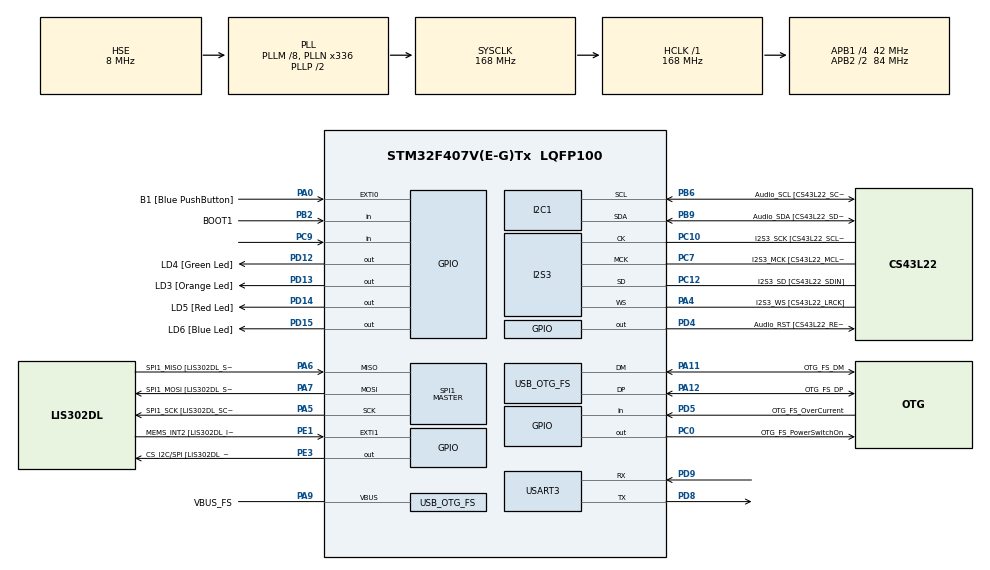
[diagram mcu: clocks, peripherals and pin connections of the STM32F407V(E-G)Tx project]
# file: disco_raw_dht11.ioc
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PA11.GPIO_Speed=GPIO_SPEED_FREQ_LOW
VP_TIM5_VS_ClockSourceINT.Mode=Internal
PD12.GPIO_Label=LD4 [Green Led]
PH0-OSC_IN.Signal=RCC_OSC_IN
PC10.GPIO_PuPd=GPIO_NOPULL
SPI1.VirtualType=VM_MASTER
PB10.GPIO_PuPd=GPIO_NOPULL
PA10.GPIO_PuPd=GPIO_NOPULL
PC12.Signal=I2S3_SD
PA14.GPIO_Label=SWCLK
PA6.GPIO_Label=SPI1_MISO [LIS302DL_SDO]
PB6.GPIO_Label=Audio_SCL [CS43L22_SCL]
PC15-OSC32_OUT.GPIO_Label=PC15-OSC32_OUT
PC3.GPIO_Speed=GPIO_SPEED_FREQ_LOW
RCC.SYSCLKSource=RCC_SYSCLKSOURCE_PLLCLK
PA6.GPIO_Mode=GPIO_MODE_AF_PP
PD14.GPIO_Speed=GPIO_SPEED_FREQ_LOW
PA4.Mode=Half_Duplex_Master
NVIC.TIM5_IRQn=true\:0\:0\:false\:false\:true\:true\:true
SPI1.Direction=SPI_DIRECTION_2LINES
I2S3.AudioFreq-Half_Duplex_Master=I2S_AUDIOFREQ_96K
PD4.Signal=GPIO_Output
RCC.APB2TimFreq_Value=168000000
PB6.Signal=I2C1_SCL
PC7.Signal=I2S3_MCK
PB6.Mode=I2C
PC3.Signal=I2S2_SD
PD8.Signal=USART3_TX
PE1.Signal=GPXTI1
USB_OTG_FS.phy_itface=HCD_PHY_EMBEDDED
PB2.Signal=GPIO_Input
I2S3.ErrorAudioFreq=-2.34 %
PA5.GPIO_PuPd=GPIO_NOPULL
I2S3.ErrorAudioFreq-Half_Duplex_Master=0.8 %
PD5.GPIO_Mode=GPIO_MODE_INPUT
PD14.GPIO_PuPd=GPIO_NOPULL
PB2.GPIO_PuPd=GPIO_NOPULL
SPI1.CalculateBaudRate-Full_Duplex_Master=42.0 MBits/s
Mcu.Package=LQFP100
PB9.Signal=I2C1_SDA
PD12.Signal=GPIO_Output
PB9.GPIO_PuPd=GPIO_NOPULL
PA10.Signal=USB_OTG_FS_ID
RCC.APB2CLKDivider=RCC_HCLK_DIV2
RCC.APB1TimFreq_Value=84000000
PC12.GPIO_PuPd=GPIO_NOPULL
PA6.GPIO_Speed=GPIO_SPEED_FREQ_LOW
PA12.GPIO_PuPd=GPIO_NOPULL
PA4.GPIO_Label=I2S3_WS [CS43L22_LRCK]
PD15.Signal=GPIO_Output
PC0.PinState=GPIO_PIN_SET
PA5.Mode=Full_Duplex_Master
I2S3.FullDuplexMode=I2S_FULLDUPLEXMODE_DISABLE
PA9.GPIO_Label=VBUS_FS
PB6.GPIO_PuPd=GPIO_NOPULL
PA11.GPIO_Label=OTG_FS_DM
PE1.GPIO_PuPd=GPIO_NOPULL
PC0.Signal=GPIO_Output
RCC.APB1CLKDivider=RCC_HCLK_DIV4
PC14-OSC32_IN.Signal=RCC_OSC32_IN
PA0-WKUP.GPIO_ModeDefaultEXTI=GPIO_MODE_EVT_RISING
PA0-WKUP.GPIO_Label=B1 [Blue PushButton]
PA0-WKUP.Signal=GPXTI0
USB_HOST0.BSP.STBoard=false
PC10.GPIO_Mode=GPIO_MODE_AF_PP
PB10.GPIO_Mode=GPIO_MODE_AF_PP
PA9.Signal=USB_OTG_FS_VBUS
I2S3.VirtualMode=I2S_MODE_MASTER
PC7.GPIO_PuPd=GPIO_NOPULL
PD8.Mode=Asynchronous
PB10.Signal=I2S2_CK
PA5.Signal=SPI1_SCK
PC12.Mode=Half_Duplex_Master
PE1.GPIO_Label=MEMS_INT2 [LIS302DL_INT2]
USB_HOST.VirtualModeFS=Cdc
PA7.GPIO_Speed=GPIO_SPEED_FREQ_LOW
PB2.GPIO_Mode=GPIO_MODE_INPUT
SPI1.Mode=SPI_MODE_MASTER
PD4.GPIO_Speed=GPIO_SPEED_FREQ_LOW
PE3.GPIO_PuPd=GPIO_NOPULL
PH1-OSC_OUT.GPIO_Label=PH1-OSC_OUT
PA13.Mode=Serial_Wire
PC7.GPIO_Label=I2S3_MCK [CS43L22_MCLK]
PA4.Signal=I2S3_WS
PC12.GPIO_Mode=GPIO_MODE_AF_PP
PA5.GPIO_Label=SPI1_SCK [LIS302DL_SCL/SPC]
PE3.GPIO_Speed=GPIO_SPEED_FREQ_LOW
PC12.GPIO_Label=I2S3_SD [CS43L22_SDIN]
PA11.Signal=USB_OTG_FS_DM
ProjectManager.HeapSize=0x200
NVIC.PriorityGroup=NVIC_PRIORITYGROUP_0
PE3.Signal=GPIO_Output
PC3.GPIO_Label=PDM_OUT [MP45DT02_DOUT]
PA0-WKUP.GPIO_PuPd=GPIO_NOPULL
I2S3.Instance=SPI$Index
PB6.GPIO_Speed=GPIO_SPEED_FREQ_LOW
SPI1.BaudRatePrescaler-Full_Duplex_Master=SPI_BAUDRATEPRESCALER_2
USB_HOST0.BSP.mode=Output
Mcu.Family=STM32F4
PC3.GPIO_Mode=GPIO_MODE_AF_PP
PA6.Mode=Full_Duplex_Master
RCC.CortexFreq_Value=168000000
PB10.GPIO_Speed=GPIO_SPEED_FREQ_LOW
PB6.GPIO_Mode=GPIO_MODE_AF_OD
PD15.GPIO_Speed=GPIO_SPEED_FREQ_LOW
PC10.Signal=I2S3_CK
PA7.GPIO_Mode=GPIO_MODE_AF_PP
PC0.GPIO_Label=OTG_FS_PowerSwitchOn
PA11.Mode=Host_Only
PC10.GPIO_Speed=GPIO_SPEED_FREQ_LOW
PA11.GPIO_PuPd=GPIO_NOPULL
PD9.Mode=Asynchronous
ProjectManager.StackSize=0x400
SPI1.Mode-Full_Duplex_Master=SPI_MODE_MASTER
PD13.Signal=GPIO_Output
PA12.Signal=USB_OTG_FS_DP
RCC.HCLKFreq_Value=168000000
USB_HOST0.BSP.ip=GPIO
RCC.AHBFreq_Value=168000000
PH0-OSC_IN.Mode=HSE-External-Oscillator
PH0-OSC_IN.GPIO_Label=PH0-OSC_IN
PA9.GPIO_Mode=GPIO_MODE_INPUT
RCC.HSE_VALUE=8000000
PA4.GPIO_PuPd=GPIO_NOPULL
PA4.GPIO_Speed=GPIO_SPEED_FREQ_LOW
PA6.GPIO_PuPd=GPIO_NOPULL
PC14-OSC32_IN.Mode=LSE-External-Oscillator
PA14.Mode=Serial_Wire
PA10.GPIO_Label=OTG_FS_ID
PC7.GPIO_Mode=GPIO_MODE_AF_PP
USB_HOST0.BSP.i2creg=0
PH1-OSC_OUT.Mode=HSE-External-Oscillator
USB_HOST0.BSP.i2caddr=0
PD13.GPIO_Label=LD3 [Orange Led]
PA6.Signal=SPI1_MISO
USB_HOST.USBH_HandleTypeDef-CDC_FS=hUsbHostFS
PD5.GPIO_Label=OTG_FS_OverCurrent
NVIC.OTG_FS_IRQn=true\:0\:0\:false\:false\:true\:true\:true
PD15.GPIO_PuPd=GPIO_NOPULL
USB_OTG_FS.VirtualMode=Host_Only
PA10.GPIO_Speed=GPIO_SPEED_FREQ_LOW
USB_HOST0.BSP.name=Drive_VBUS_FS
PB9.GPIO_Speed=GPIO_SPEED_FREQ_LOW
PC14-OSC32_IN.GPIO_Label=PC14-OSC32_IN
PC0.GPIO_PuPd=GPIO_NOPULL
PA12.GPIO_Speed=GPIO_SPEED_FREQ_LOW
PB3.GPIO_Label=SWO
PC15-OSC32_OUT.Mode=LSE-External-Oscillator
PD12.GPIO_Speed=GPIO_SPEED_FREQ_LOW
PD15.GPIO_Label=LD6 [Blue Led]
PA7.Mode=Full_Duplex_Master
PB9.GPIO_Label=Audio_SDA [CS43L22_SDA]
PC10.GPIO_Label=I2S3_SCK [CS43L22_SCLK]
USB_HOST0.BSP.solution=PC0
PC10.Mode=Half_Duplex_Master
USB_HOST.BSP.number=1
PD9.Signal=USART3_RX
PD5.Signal=GPIO_Input
PE1.GPIO_ModeDefaultEXTI=GPIO_MODE_EVT_RISING
PA9.GPIO_PuPd=GPIO_NOPULL
PA12.GPIO_Label=OTG_FS_DP
PA10.GPIO_Mode=GPIO_MODE_AF_PP
PA13.Signal=SYS_JTMS-SWDIO
PD4.GPIO_PuPd=GPIO_NOPULL
PA9.Mode=Activate_VBUS
PC0.GPIO_Speed=GPIO_SPEED_FREQ_LOW
I2S3.RealAudioFreq-Half_Duplex_Master=96.774 KHz
ProjectManager.TargetToolchain=TrueSTUDIO
PB10.GPIO_Label=CLK_IN [MP45DT02_CLK]
PB9.Mode=I2C
PC15-OSC32_OUT.Signal=RCC_OSC32_OUT
PA7.GPIO_PuPd=GPIO_NOPULL
board=STM32F407G-DISC1
PD13.GPIO_Speed=GPIO_SPEED_FREQ_LOW
PC7.GPIO_Speed=GPIO_SPEED_FREQ_LOW
RCC.VCOOutputFreq_Value=336000000
PB9.GPIO_Mode=GPIO_MODE_AF_OD
PA12.GPIO_Mode=GPIO_MODE_AF_PP
PA4.GPIO_Mode=GPIO_MODE_AF_PP
RCC.APB2Freq_Value=84000000
USB_HOST0.BSP.api=Unknown
PD4.GPIO_Label=Audio_RST [CS43L22_RESET]
PH1-OSC_OUT.Signal=RCC_OSC_OUT
PD13.GPIO_PuPd=GPIO_NOPULL
PD5.GPIO_PuPd=GPIO_NOPULL
PD14.GPIO_Label=LD5 [Red Led]
Mcu.Name=STM32F407V(E-G)Tx
PA13.GPIO_Label=SWDIO
PD14.Signal=GPIO_Output
RCC.48MHZClocksFreq_Value=48000000
PB3.Signal=SYS_JTDO-SWO
RCC.SYSCLKFreq_VALUE=168000000
PA7.GPIO_Label=SPI1_MOSI [LIS302DL_SDA/SDI/SDO]
PA12.Mode=Host_Only
VP_USB_HOST_VS_USB_HOST_CDC_FS.Mode=CDC_FS
USART3.VirtualMode=VM_ASYNC
PA14.Signal=SYS_JTCK-SWCLK
PB2.GPIO_Label=BOOT1
RCC.HSI_VALUE=16000000
PA5.GPIO_Speed=GPIO_SPEED_FREQ_LOW
RCC.PLLQ=7
I2S3.RealAudioFreq=93.75 KHz
RCC.PLLM=8
RCC.PLLN=336
PE3.GPIO_Label=CS_I2C/SPI [LIS302DL_CS_I2C/SPI]
PC9.Signal=GPIO_Input
PC7.Mode=Master_Clock_Activated
PA11.GPIO_Mode=GPIO_MODE_AF_PP
RCC.APB1Freq_Value=42000000
PA5.GPIO_Mode=GPIO_MODE_AF_PP
PC12.GPIO_Speed=GPIO_SPEED_FREQ_LOW
PC3.GPIO_PuPd=GPIO_NOPULL
PD12.GPIO_PuPd=GPIO_NOPULL
PA7.Signal=SPI1_MOSI
USB_HOST0.BSP.instance=PC0

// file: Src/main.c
/* USER CODE BEGIN Header */
/**
  ******************************************************************************
  * @file           : main.c
  * @brief          : Main program body
  ******************************************************************************
  * @attention
  *
  * <h2><center>&copy; Copyright (c) 2020 STMicroelectronics.
  * All rights reserved.</center></h2>
  *
  * This software component is licensed by ST under Ultimate Liberty license
  * SLA0044, the "License"; You may not use this file except in compliance with
  * the License. You may obtain a copy of the License at:
  *                             www.st.com/SLA0044
  *
  ******************************************************************************
  */
/* USER CODE END Header */

#include "main.h"
#include "usb_host.h"

I2C_HandleTypeDef hi2c1;

I2S_HandleTypeDef hi2s3;

SPI_HandleTypeDef hspi1;

TIM_HandleTypeDef htim5;

UART_HandleTypeDef huart3;

void SystemClock_Config(void);
static void MX_GPIO_Init(void);
static void MX_I2C1_Init(void);
static void MX_I2S3_Init(void);
static void MX_SPI1_Init(void);
static void MX_TIM5_Init(void);
static void MX_USART3_UART_Init(void);
void MX_USB_HOST_Process(void);

/* USER CODE BEGIN 0 */

uint8_t Rh_byte1, Rh_byte2, Temp_byte1, Temp_byte2;
uint16_t SUM, RH, TEMP;

float Temperature = 0;
float Humidity = 0;
uint8_t Presence = 0;

void Set_Pin_Output (GPIO_TypeDef *GPIOx, uint16_t GPIO_Pin)
{
	GPIO_InitTypeDef GPIO_InitStruct = {0};
	GPIO_InitStruct.Pin = GPIO_Pin;
	GPIO_InitStruct.Mode = GPIO_MODE_OUTPUT_PP;
	GPIO_InitStruct.Speed = GPIO_SPEED_FREQ_LOW;
	HAL_GPIO_Init(GPIOx, &GPIO_InitStruct);
}

void Set_Pin_Input (GPIO_TypeDef *GPIOx, uint16_t GPIO_Pin)
{
	GPIO_InitTypeDef GPIO_InitStruct = {0};
	GPIO_InitStruct.Pin = GPIO_Pin;
	GPIO_InitStruct.Mode = GPIO_MODE_INPUT;
	GPIO_InitStruct.Pull = GPIO_PULLUP;
	HAL_GPIO_Init(GPIOx, &GPIO_InitStruct);
}
#define DHT11_PIN GPIO_PIN_9
#define DHT11_PORT GPIOC

void DHT11_Start (void)
{
	Set_Pin_Output (DHT11_PORT, DHT11_PIN);  // set the pin as output
	HAL_GPIO_WritePin (DHT11_PORT, DHT11_PIN, 0);   // pull the pin low
	delay (18000);   // wait for 18ms
    HAL_GPIO_WritePin (DHT11_PORT, DHT11_PIN, 1);   // pull the pin high
	delay (20);   // wait for 20us
}

uint8_t DHT11_Check_Response (void)
{
	uint8_t Response = 0;
	delay (40);
	if (!(HAL_GPIO_ReadPin (DHT11_PORT, DHT11_PIN)))
	{
		delay (80);
		if ((HAL_GPIO_ReadPin (DHT11_PORT, DHT11_PIN))) Response = 1;
		else Response = -1; // 255
	}
	while ((HAL_GPIO_ReadPin (DHT11_PORT, DHT11_PIN)));   // wait for the pin to go low

	return Response;
}

uint8_t DHT11_Read (void)
{
	uint8_t i,j;
	for (j=0;j<8;j++)
	{
		while (!(HAL_GPIO_ReadPin (DHT11_PORT, DHT11_PIN)));   // wait for the pin to go high
		delay (40);   // wait for 40 us
		if (!(HAL_GPIO_ReadPin (DHT11_PORT, DHT11_PIN)))   // if the pin is low
		{
			i&= ~(1<<(7-j));   // write 0
		}
		else i|= (1<<(7-j));  // if the pin is high, write 1
		while ((HAL_GPIO_ReadPin (DHT11_PORT, DHT11_PIN)));  // wait for the pin to go low
	}
	return i;
}
void delay (uint16_t time)
{
	/* change your code here for the delay in microseconds */

	__HAL_TIM_SET_COUNTER(&htim5, 0);
	while ((__HAL_TIM_GET_COUNTER(&htim5))<time);}
/* USER CODE END 0 */

int main(void)
{

  /* MCU Configuration--------------------------------------------------------*/

  /* Reset of all peripherals, Initializes the Flash interface and the Systick. */
  HAL_Init();

  /* Configure the system clock */
  SystemClock_Config();

  /* Initialize all configured peripherals */
  MX_GPIO_Init();
  MX_I2C1_Init();
  MX_I2S3_Init();
  MX_SPI1_Init();
  MX_TIM5_Init();
  MX_USART3_UART_Init();
  MX_USB_HOST_Init();
  /* USER CODE BEGIN 2 */
  char buffer[1999];
  HAL_TIM_Base_Start(&htim5);

   sprintf(buffer,"hello hhhhhhhhhhhhh\n\r");
   HAL_UART_Transmit(&huart3,buffer,strlen(buffer),1000);
  /* USER CODE END 2 */

  /* Infinite loop */
  /* USER CODE BEGIN WHILE */
  while (1)
  {
	  // sprintf(buffer,"hello world\n\r");
	  	 // HAL_UART_Transmit(&huart2,buffer,strlen(buffer),1000);
	  HAL_GPIO_TogglePin(GPIOD,LD4_Pin);
	  HAL_GPIO_TogglePin(GPIOD,LD3_Pin);
	  DHT11_Start();
		Set_Pin_Input(DHT11_PORT, DHT11_PIN);    // set as input

	  	  Presence = DHT11_Check_Response();
	  	  Rh_byte1 = DHT11_Read ();
	  	  Rh_byte2 = DHT11_Read ();
	  	  Temp_byte1 = DHT11_Read ();
	  	  Temp_byte2 = DHT11_Read ();
	  	  SUM = DHT11_Read();
	  	  TEMP = Temp_byte1;
	  	  RH = Rh_byte1;
	  	  //Temperature = (float) TEMP;
	  	 // Humidity = (float) RH;
	  	  sprintf(buffer,"temp=%d.%d hum=%d.%d\n\r",Temp_byte1,Temp_byte2,Rh_byte1,Rh_byte2);
	  	  HAL_UART_Transmit(&huart3,buffer,strlen(buffer),1000);
	  	  HAL_Delay(1100);
    /* USER CODE END WHILE */
    MX_USB_HOST_Process();

  }
}

void SystemClock_Config(void)
{
  RCC_OscInitTypeDef RCC_OscInitStruct = {0};
  RCC_ClkInitTypeDef RCC_ClkInitStruct = {0};
  RCC_PeriphCLKInitTypeDef PeriphClkInitStruct = {0};

  /** Configure the main internal regulator output voltage
  */
  __HAL_RCC_PWR_CLK_ENABLE();
  __HAL_PWR_VOLTAGESCALING_CONFIG(PWR_REGULATOR_VOLTAGE_SCALE1);
  /** Initializes the CPU, AHB and APB busses clocks
  */
  RCC_OscInitStruct.OscillatorType = RCC_OSCILLATORTYPE_HSE;
  RCC_OscInitStruct.HSEState = RCC_HSE_ON;
  RCC_OscInitStruct.PLL.PLLState = RCC_PLL_ON;
  RCC_OscInitStruct.PLL.PLLSource = RCC_PLLSOURCE_HSE;
  RCC_OscInitStruct.PLL.PLLM = 8;
  RCC_OscInitStruct.PLL.PLLN = 336;
  RCC_OscInitStruct.PLL.PLLP = RCC_PLLP_DIV2;
  RCC_OscInitStruct.PLL.PLLQ = 7;
  if (HAL_RCC_OscConfig(&RCC_OscInitStruct) != HAL_OK)
  {
    Error_Handler();
  }
  /** Initializes the CPU, AHB and APB busses clocks
  */
  RCC_ClkInitStruct.ClockType = RCC_CLOCKTYPE_HCLK|RCC_CLOCKTYPE_SYSCLK
                              |RCC_CLOCKTYPE_PCLK1|RCC_CLOCKTYPE_PCLK2;
  RCC_ClkInitStruct.SYSCLKSource = RCC_SYSCLKSOURCE_PLLCLK;
  RCC_ClkInitStruct.AHBCLKDivider = RCC_SYSCLK_DIV1;
  RCC_ClkInitStruct.APB1CLKDivider = RCC_HCLK_DIV4;
  RCC_ClkInitStruct.APB2CLKDivider = RCC_HCLK_DIV2;

  if (HAL_RCC_ClockConfig(&RCC_ClkInitStruct, FLASH_LATENCY_5) != HAL_OK)
  {
    Error_Handler();
  }
  PeriphClkInitStruct.PeriphClockSelection = RCC_PERIPHCLK_I2S;
  PeriphClkInitStruct.PLLI2S.PLLI2SN = 192;
  PeriphClkInitStruct.PLLI2S.PLLI2SR = 2;
  if (HAL_RCCEx_PeriphCLKConfig(&PeriphClkInitStruct) != HAL_OK)
  {
    Error_Handler();
  }
}

static void MX_I2C1_Init(void)
{

  hi2c1.Instance = I2C1;
  hi2c1.Init.ClockSpeed = 100000;
  hi2c1.Init.DutyCycle = I2C_DUTYCYCLE_2;
  hi2c1.Init.OwnAddress1 = 0;
  hi2c1.Init.AddressingMode = I2C_ADDRESSINGMODE_7BIT;
  hi2c1.Init.DualAddressMode = I2C_DUALADDRESS_DISABLE;
  hi2c1.Init.OwnAddress2 = 0;
  hi2c1.Init.GeneralCallMode = I2C_GENERALCALL_DISABLE;
  hi2c1.Init.NoStretchMode = I2C_NOSTRETCH_DISABLE;
  if (HAL_I2C_Init(&hi2c1) != HAL_OK)
  {
    Error_Handler();
  }

}

static void MX_I2S3_Init(void)
{

  hi2s3.Instance = SPI3;
  hi2s3.Init.Mode = I2S_MODE_MASTER_TX;
  hi2s3.Init.Standard = I2S_STANDARD_PHILIPS;
  hi2s3.Init.DataFormat = I2S_DATAFORMAT_16B;
  hi2s3.Init.MCLKOutput = I2S_MCLKOUTPUT_ENABLE;
  hi2s3.Init.AudioFreq = I2S_AUDIOFREQ_96K;
  hi2s3.Init.CPOL = I2S_CPOL_LOW;
  hi2s3.Init.ClockSource = I2S_CLOCK_PLL;
  hi2s3.Init.FullDuplexMode = I2S_FULLDUPLEXMODE_DISABLE;
  if (HAL_I2S_Init(&hi2s3) != HAL_OK)
  {
    Error_Handler();
  }

}

static void MX_SPI1_Init(void)
{

  /* SPI1 parameter configuration*/
  hspi1.Instance = SPI1;
  hspi1.Init.Mode = SPI_MODE_MASTER;
  hspi1.Init.Direction = SPI_DIRECTION_2LINES;
  hspi1.Init.DataSize = SPI_DATASIZE_8BIT;
  hspi1.Init.CLKPolarity = SPI_POLARITY_LOW;
  hspi1.Init.CLKPhase = SPI_PHASE_1EDGE;
  hspi1.Init.NSS = SPI_NSS_SOFT;
  hspi1.Init.BaudRatePrescaler = SPI_BAUDRATEPRESCALER_2;
  hspi1.Init.FirstBit = SPI_FIRSTBIT_MSB;
  hspi1.Init.TIMode = SPI_TIMODE_DISABLE;
  hspi1.Init.CRCCalculation = SPI_CRCCALCULATION_DISABLE;
  hspi1.Init.CRCPolynomial = 10;
  if (HAL_SPI_Init(&hspi1) != HAL_OK)
  {
    Error_Handler();
  }

}

static void MX_TIM5_Init(void)
{

  TIM_ClockConfigTypeDef sClockSourceConfig = {0};
  TIM_MasterConfigTypeDef sMasterConfig = {0};

  htim5.Instance = TIM5;
  htim5.Init.Prescaler = 83;
  htim5.Init.CounterMode = TIM_COUNTERMODE_UP;
  htim5.Init.Period = 0xffff;
  htim5.Init.ClockDivision = TIM_CLOCKDIVISION_DIV1;
  htim5.Init.AutoReloadPreload = TIM_AUTORELOAD_PRELOAD_DISABLE;
  if (HAL_TIM_Base_Init(&htim5) != HAL_OK)
  {
    Error_Handler();
  }
  sClockSourceConfig.ClockSource = TIM_CLOCKSOURCE_INTERNAL;
  if (HAL_TIM_ConfigClockSource(&htim5, &sClockSourceConfig) != HAL_OK)
  {
    Error_Handler();
  }
  sMasterConfig.MasterOutputTrigger = TIM_TRGO_RESET;
  sMasterConfig.MasterSlaveMode = TIM_MASTERSLAVEMODE_DISABLE;
  if (HAL_TIMEx_MasterConfigSynchronization(&htim5, &sMasterConfig) != HAL_OK)
  {
    Error_Handler();
  }

}

static void MX_USART3_UART_Init(void)
{

  huart3.Instance = USART3;
  huart3.Init.BaudRate = 115200;
  huart3.Init.WordLength = UART_WORDLENGTH_8B;
  huart3.Init.StopBits = UART_STOPBITS_1;
  huart3.Init.Parity = UART_PARITY_NONE;
  huart3.Init.Mode = UART_MODE_TX_RX;
  huart3.Init.HwFlowCtl = UART_HWCONTROL_NONE;
  huart3.Init.OverSampling = UART_OVERSAMPLING_16;
  if (HAL_UART_Init(&huart3) != HAL_OK)
  {
    Error_Handler();
  }

}

static void MX_GPIO_Init(void)
{
  GPIO_InitTypeDef GPIO_InitStruct = {0};

  /* GPIO Ports Clock Enable */
  __HAL_RCC_GPIOE_CLK_ENABLE();
  __HAL_RCC_GPIOC_CLK_ENABLE();
  __HAL_RCC_GPIOH_CLK_ENABLE();
  __HAL_RCC_GPIOA_CLK_ENABLE();
  __HAL_RCC_GPIOB_CLK_ENABLE();
  __HAL_RCC_GPIOD_CLK_ENABLE();

  /*Configure GPIO pin Output Level */
  HAL_GPIO_WritePin(CS_I2C_SPI_GPIO_Port, CS_I2C_SPI_Pin, GPIO_PIN_RESET);

  /*Configure GPIO pin Output Level */
  HAL_GPIO_WritePin(OTG_FS_PowerSwitchOn_GPIO_Port, OTG_FS_PowerSwitchOn_Pin, GPIO_PIN_SET);

  /*Configure GPIO pin Output Level */
  HAL_GPIO_WritePin(GPIOD, LD4_Pin|LD3_Pin|LD5_Pin|LD6_Pin
                          |Audio_RST_Pin, GPIO_PIN_RESET);

  /*Configure GPIO pin : CS_I2C_SPI_Pin */
  GPIO_InitStruct.Pin = CS_I2C_SPI_Pin;
  GPIO_InitStruct.Mode = GPIO_MODE_OUTPUT_PP;
  GPIO_InitStruct.Pull = GPIO_NOPULL;
  GPIO_InitStruct.Speed = GPIO_SPEED_FREQ_LOW;
  HAL_GPIO_Init(CS_I2C_SPI_GPIO_Port, &GPIO_InitStruct);

  /*Configure GPIO pin : OTG_FS_PowerSwitchOn_Pin */
  GPIO_InitStruct.Pin = OTG_FS_PowerSwitchOn_Pin;
  GPIO_InitStruct.Mode = GPIO_MODE_OUTPUT_PP;
  GPIO_InitStruct.Pull = GPIO_NOPULL;
  GPIO_InitStruct.Speed = GPIO_SPEED_FREQ_LOW;
  HAL_GPIO_Init(OTG_FS_PowerSwitchOn_GPIO_Port, &GPIO_InitStruct);

  /*Configure GPIO pin : PDM_OUT_Pin */
  GPIO_InitStruct.Pin = PDM_OUT_Pin;
  GPIO_InitStruct.Mode = GPIO_MODE_AF_PP;
  GPIO_InitStruct.Pull = GPIO_NOPULL;
  GPIO_InitStruct.Speed = GPIO_SPEED_FREQ_LOW;
  GPIO_InitStruct.Alternate = GPIO_AF5_SPI2;
  HAL_GPIO_Init(PDM_OUT_GPIO_Port, &GPIO_InitStruct);

  /*Configure GPIO pin : B1_Pin */
  GPIO_InitStruct.Pin = B1_Pin;
  GPIO_InitStruct.Mode = GPIO_MODE_EVT_RISING;
  GPIO_InitStruct.Pull = GPIO_NOPULL;
  HAL_GPIO_Init(B1_GPIO_Port, &GPIO_InitStruct);

  /*Configure GPIO pin : BOOT1_Pin */
  GPIO_InitStruct.Pin = BOOT1_Pin;
  GPIO_InitStruct.Mode = GPIO_MODE_INPUT;
  GPIO_InitStruct.Pull = GPIO_NOPULL;
  HAL_GPIO_Init(BOOT1_GPIO_Port, &GPIO_InitStruct);

  /*Configure GPIO pin : CLK_IN_Pin */
  GPIO_InitStruct.Pin = CLK_IN_Pin;
  GPIO_InitStruct.Mode = GPIO_MODE_AF_PP;
  GPIO_InitStruct.Pull = GPIO_NOPULL;
  GPIO_InitStruct.Speed = GPIO_SPEED_FREQ_LOW;
  GPIO_InitStruct.Alternate = GPIO_AF5_SPI2;
  HAL_GPIO_Init(CLK_IN_GPIO_Port, &GPIO_InitStruct);

  /*Configure GPIO pins : LD4_Pin LD3_Pin LD5_Pin LD6_Pin
                           Audio_RST_Pin */
  GPIO_InitStruct.Pin = LD4_Pin|LD3_Pin|LD5_Pin|LD6_Pin
                          |Audio_RST_Pin;
  GPIO_InitStruct.Mode = GPIO_MODE_OUTPUT_PP;
  GPIO_InitStruct.Pull = GPIO_NOPULL;
  GPIO_InitStruct.Speed = GPIO_SPEED_FREQ_LOW;
  HAL_GPIO_Init(GPIOD, &GPIO_InitStruct);

  /*Configure GPIO pin : PC9 */
  GPIO_InitStruct.Pin = GPIO_PIN_9;
  GPIO_InitStruct.Mode = GPIO_MODE_INPUT;
  GPIO_InitStruct.Pull = GPIO_NOPULL;
  HAL_GPIO_Init(GPIOC, &GPIO_InitStruct);

  /*Configure GPIO pin : OTG_FS_OverCurrent_Pin */
  GPIO_InitStruct.Pin = OTG_FS_OverCurrent_Pin;
  GPIO_InitStruct.Mode = GPIO_MODE_INPUT;
  GPIO_InitStruct.Pull = GPIO_NOPULL;
  HAL_GPIO_Init(OTG_FS_OverCurrent_GPIO_Port, &GPIO_InitStruct);

  /*Configure GPIO pin : MEMS_INT2_Pin */
  GPIO_InitStruct.Pin = MEMS_INT2_Pin;
  GPIO_InitStruct.Mode = GPIO_MODE_EVT_RISING;
  GPIO_InitStruct.Pull = GPIO_NOPULL;
  HAL_GPIO_Init(MEMS_INT2_GPIO_Port, &GPIO_InitStruct);

}

void Error_Handler(void)
{
}

/************************ (C) COPYRIGHT STMicroelectronics *****END OF FILE****/
